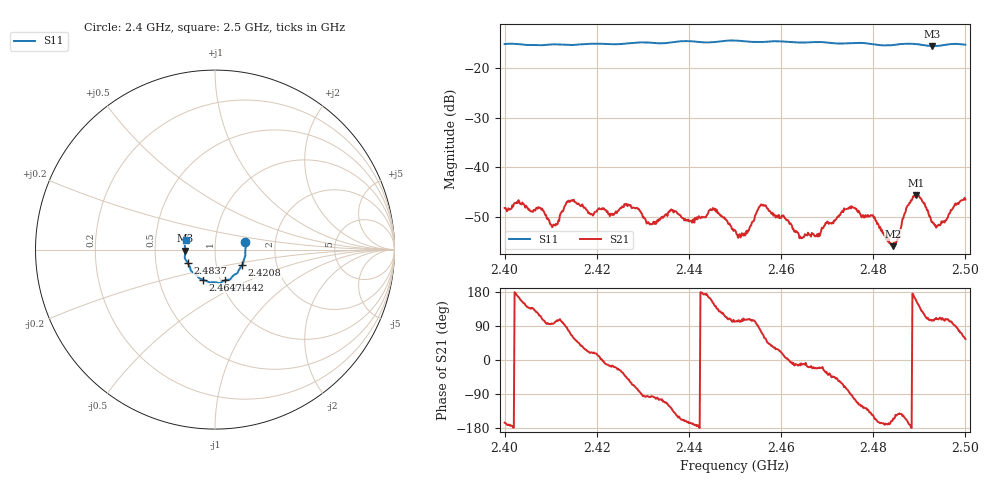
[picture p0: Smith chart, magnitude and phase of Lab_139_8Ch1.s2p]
# Hz S RI R 50
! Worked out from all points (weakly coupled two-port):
!   601 points, 2.4 GHz to 2.5 GHz, reference 50 ohm
!   highest |S21| = -45.58 dB at 2.4893 GHz (marker M1); lowest = -55.8 dB at 2.4843 GHz (marker M2)
!   lowest |S11| = -15.6 dB at 2.4928 GHz (marker M3), VSWR 1.40, Z = 35.8 - j0.378 ohm
!   |S11| at or under -10 dB: start of sweep to end of sweep
!   S12 and S22 are empty: the file has one direction only
!   S11 on the Smith chart (normalised r, x): 2.4 GHz: 1.40, +0.12; 2.4208 GHz: 1.33, -0.24; 2.4442 GHz: 1.05, -0.37; 2.4647 GHz: 0.83, -0.29; 2.4837 GHz: 0.73, -0.11; 2.5 GHz: 0.72, +0.08
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2.4e9  0.1687 0.0411  -0.00377 -0.000994  0 0  0 0
2.407667e9  0.1685 -0.0152  -0.0018 0.00349  0 0  0 0
2.4105e9  0.1696 -0.0308  -0.00025 0.00259  0 0  0 0
2.413833e9  0.1631 -0.049  0.000969 0.00453  0 0  0 0
2.416667e9  0.1586 -0.0683  0.00323 0.00253  0 0  0 0
2.420833e9  0.1512 -0.0874  0.0038 0.000145  0 0  0 0
2.426833e9  0.1306 -0.1187  0.00264 -0.00331  0 0  0 0
2.433333e9  0.108 -0.1397  -0.000646 -0.00279  0 0  0 0
2.444167e9  0.0569 -0.171  -0.00337 0.000787  0 0  0 0
2.45e9  0.0248 -0.1867  -0.000459 0.00228  0 0  0 0
2.452333e9  0.0139 -0.1843  -0.000596 0.00203  0 0  0 0
2.456167e9  -0.0152 -0.1817  0.00175 0.00383  0 0  0 0
2.464667e9  -0.0671 -0.1668  0.00191 -0.000403  0 0  0 0
2.466667e9  -0.0804 -0.1626  0.00206 -0.000758  0 0  0 0
2.475333e9  -0.1242 -0.1266  -0.000143 -0.00406  0 0  0 0
2.48e9  -0.1376 -0.1044  -0.00273 -0.00178  0 0  0 0
2.483333e9  -0.1501 -0.0763  -0.00187 -0.000436  0 0  0 0
2.483667e9  -0.1518 -0.0733  -0.0017 -0.000371  0 0  0 0
2.484333e9  -0.1556 -0.0678  -0.00145 -0.000703  0 0  0 0
2.489333e9  -0.1685 -0.0414  -0.00481 0.00213  0 0  0 0
2.492833e9  -0.1656 -0.00513  -0.000758 0.00273  0 0  0 0
2.5e9  -0.163 0.0524  0.00271 0.0039  0 0  0 0
